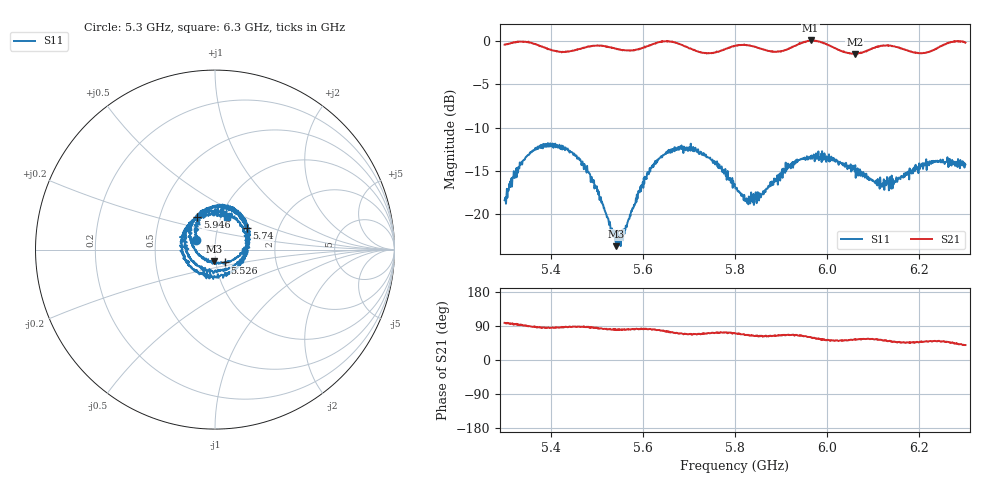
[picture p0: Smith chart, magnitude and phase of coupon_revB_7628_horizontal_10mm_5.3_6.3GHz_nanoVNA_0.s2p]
! NanoVNA-App
! Date: 2026-11-01 17:57:44
! Start: 5,3GHz Stop: 6,3GHz Points: 1001
! S-Parameter data: F S11 S21 S12 S22
# Hz S RI R 50
!  Frequency  S11_Real  S11_Imag  S21_Real  S21_Imag  S12_Real  S12_Imag  S22_Real  S22_Imag
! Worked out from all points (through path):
!   1001 points, 5.3 GHz to 6.3 GHz, reference 50 ohm
!   highest |S21| = 0.06 dB at 5.964 GHz (marker M1); lowest = -1.5 dB at 6.06 GHz (marker M2)
!   group delay of S21, straight-line fit = 142 ps
!   lowest |S11| = -23.7 dB at 5.542 GHz (marker M3), VSWR 1.14, Z = 49.2 - j6.45 ohm
!   |S11| at or under -10 dB: start of sweep to end of sweep
!   S12 and S22 are empty: the file has one direction only
!   S11 on the Smith chart (normalised r, x): 5.3 GHz: 0.80, +0.09; 5.526 GHz: 1.10, -0.16; 5.74 GHz: 1.38, +0.35; 5.946 GHz: 0.77, +0.30; 6.3 GHz: 1.06, +0.40
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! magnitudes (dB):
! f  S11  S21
! 5.3 GHz  -18.4  -0.4
! 5.335 GHz  -14.2  -0.1
! 5.371 GHz  -12.5  -0.4
! 5.432 GHz  -12.3  -1.3
! 5.467 GHz  -14.3  -0.8
! 5.526 GHz  -20.9  -0.7
! 5.542 GHz  -23.7  -0.9
! 5.557 GHz  -23.0  -1.0
! 5.595 GHz  -16.8  -0.9
! 5.634 GHz  -13.7  -0.2
! 5.681 GHz  -12.2  -0.4
! 5.74 GHz  -13.4  -1.4
! 5.8 GHz  -16.8  -0.6
! 5.842 GHz  -18.3  -0.7
! 5.895 GHz  -15.6  -1.2
! 5.946 GHz  -13.6  -0.2
! 5.964 GHz  -13.3  0.1
! 5.967 GHz  -13.6  0.0
! 6.06 GHz  -15.1  -1.5
! 6.134 GHz  -17.2  -0.6
! 6.232 GHz  -14.0  -1.0
! 6.3 GHz  -14.3  -0.2
